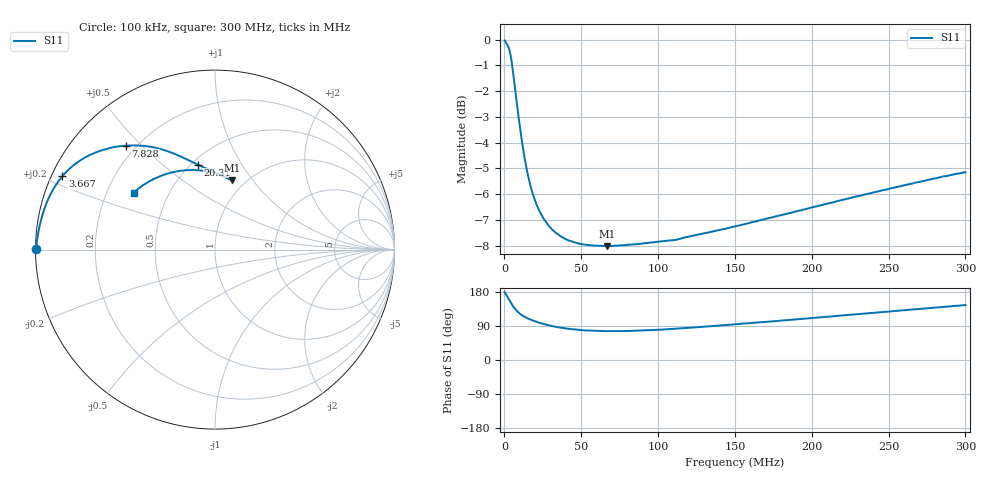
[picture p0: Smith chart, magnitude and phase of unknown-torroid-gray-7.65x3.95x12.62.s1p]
# HZ S RI R 50
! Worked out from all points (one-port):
!   1010 points, 100 kHz to 300 MHz, reference 50 ohm
!   lowest |S11| = -8.0 dB at 66.68 MHz (marker M1), VSWR 2.32, Z = 43.5 + j39.8 ohm
!   |S11| at or under -10 dB: nowhere
!   S11 on the Smith chart (normalised r, x): 100 kHz: 0.00, +0.00; 3.667 MHz: 0.03, +0.23; 7.828 MHz: 0.16, +0.45; 20.31 MHz: 0.54, +0.66; 300 MHz: 0.31, +0.29
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100000  -0.9967 0.00599
991600  -0.9796 0.1207
1883300  -0.9519 0.2229
2775000  -0.9098 0.3205
3666700  -0.8499 0.4096
4558300  -0.7743 0.4807
5747200  -0.6657 0.5408
6638900  -0.592 0.5641
7827800  -0.4963 0.5789
9016700  -0.4181 0.5794
1.02056e7  -0.3529 0.5718
1.13945e7  -0.2994 0.5593
1.28806e7  -0.2458 0.5416
1.61501e7  -0.1637 0.5059
2.03113e7  -0.0963 0.4738
2.3878e7  -0.0551 0.4547
2.80391e7  -0.0177 0.4378
3.784752e7  0.0402 0.4109
5.092542e7  0.0792 0.3927
6.667835e7  0.0949 0.3857
7.529785e7  0.0952 0.3871
9.402308e7  0.0801 0.3955
1.127482e8  0.0504 0.4064
1.501986e8  -0.0301 0.4329
1.87649e8  -0.1309 0.443
2.250993e8  -0.2411 0.4296
2.625496e8  -0.3518 0.3877
2.999999e8  -0.4527 0.3164
